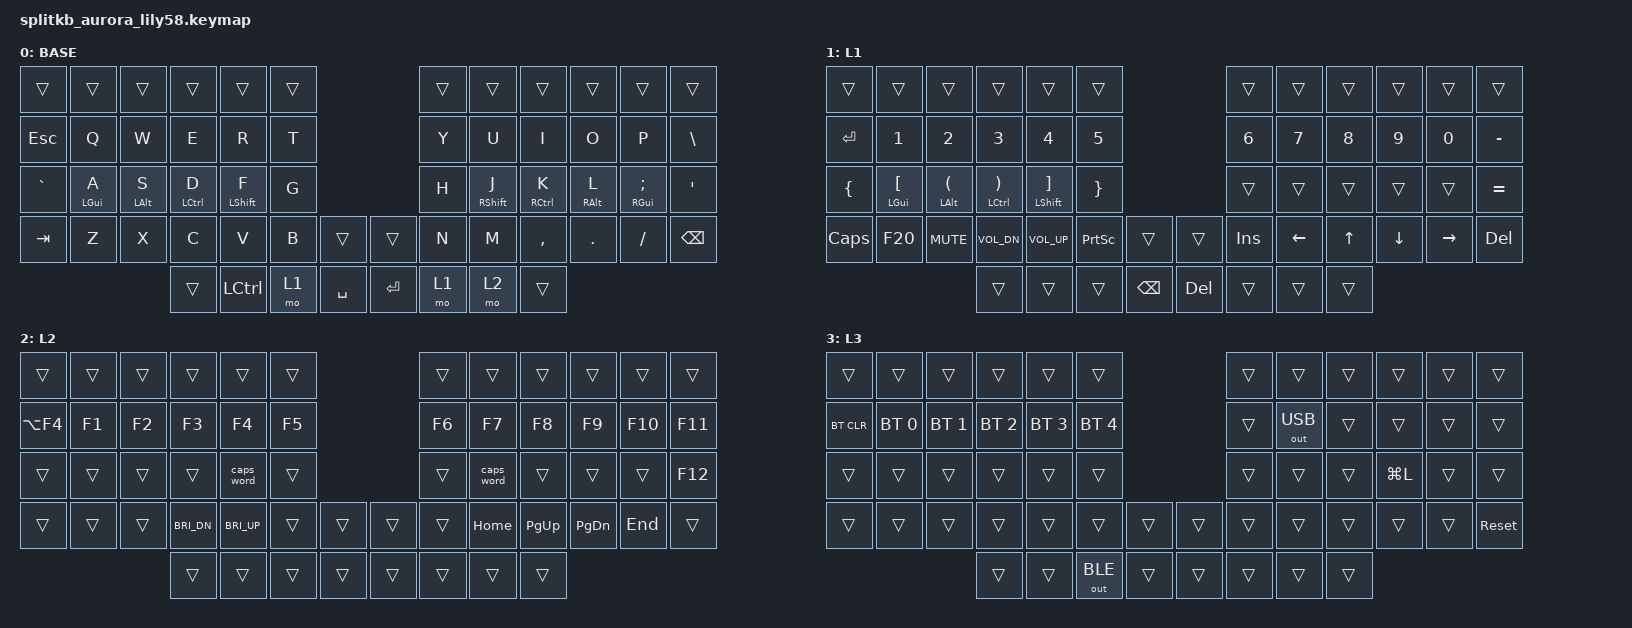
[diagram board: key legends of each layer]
/*
 * Copyright (c) 2022 The ZMK Contributors
 *
 * SPDX-License-Identifier: MIT
 */

#include <behaviors.dtsi>
#include <dt-bindings/zmk/keys.h>
#include <dt-bindings/zmk/bt.h>
#include <dt-bindings/zmk/ext_power.h>
#include <dt-bindings/zmk/outputs.h>

// &trans passa al layer sotto
// &canc disabilita il tasto

/ {
    behaviors {
        hml: home_row_mod_left {
            compatible = "zmk,behavior-hold-tap";
            #binding-cells = <2>;
            flavor = "balanced";
            require-prior-idle-ms = <150>;
            tapping-term-ms = <280>;
            quick-tap-ms = <175>;
            bindings = <&kp>, <&kp>;
            //hold-trigger-key-positions = < ... >; // List of keys on the right side of the keyboard
            hold-trigger-on-release;
        };
        hmr: home_row_mod_right {
            compatible = "zmk,behavior-hold-tap";
            #binding-cells = <2>;
            flavor = "balanced";
            require-prior-idle-ms = <150>;
            tapping-term-ms = <280>;
            quick-tap-ms = <175>;
            bindings = <&kp>, <&kp>;
            //hold-trigger-key-positions = < ... >; // List of keys on the left side of the keyboard
            hold-trigger-on-release;
        };
    };
    
    macros {
         alt_f4_m: alt_f4 {  // use it with &alt_f4_m
            compatible = "zmk,behavior-macro";
            label = "Alt F4 Macro";
            #binding-cells = <0>;
            bindings = <&macro_press &kp LALT>,
                       <&macro_tap &kp F4>,
                       <&macro_release &kp LALT>;
        };
        alt_tab_m: alt_tab {  // use it with &alt_tab_m
            compatible = "zmk,behavior-macro";
            label = "Alt TAB Macro";
            #binding-cells = <0>;
            bindings = <&macro_press &kp LALT>,
                       <&macro_tap &kp TAB>,
                       <&macro_release &kp LALT>;
        };
    };

    conditional_layers {
        compatible = "zmk,conditional-layers";
        tri_layer {
            if-layers = <1 2>;
            then-layer = <3>;
        };
    };
    
    keymap {
        compatible = "zmk,keymap";

        l0_layer {
            display-name = "BASE";
// ------------------------------------------------------------------------------------------------------------
// |       |     |     |      |      |      |                   |      |       |       |      |       |       |
// |  ESC  |  Q  |  W  |  E   |  R   |  T   |                   |  Y   |  U    |  I    |  O   |   P   |   \   |
// |   `   |  A  |  S  |  D   |  F   |  G   |                   |  H   |  J    |  K    |  L   |   ;   |   '   |
// |  TAB  |  Z  |  X  |  C   |  V   |  B   |        |  |       |  N   |  M    |  ,    |  .   |   /   |  BSPC |
//                     |      | LCTRL|  M1  |  SPACE |  | ENTER |  M1  |  M2   |       |
            bindings = <
&trans      &trans      &trans        &trans        &trans         &trans                                &trans      &trans        &trans       &trans        &trans         &trans
&kp ESC     &kp Q       &kp W         &kp E         &kp R          &kp T                                 &kp Y       &kp U         &kp I        &kp O         &kp P          &kp BSLH
&kp GRAVE   &hml LGUI A &hml LALT S   &hml LCTRL D  &hml LSHIFT F  &kp G                                 &kp H       &hmr RSHIFT J &hmr RCTRL K &hmr RALT L   &hmr RGUI SEMI &kp SQT
&kp TAB     &kp Z       &kp X         &kp C         &kp V          &kp B       &trans        &trans      &kp N       &kp M         &kp COMMA    &kp DOT       &kp FSLH       &kp BSPC
                                      &trans        &kp LCTRL      &mo 1       &kp SPACE     &kp RET     &mo 1       &mo 2         &trans
            >;
        };

        l1_layer {
            display-name = "L1";
// ------------------------------------------------------------------------------------------------------------
// |       |          |      |        |        |      |                   |        |       |       |       |       |       |
// |  RET  |   1      |   2  |   3    |   4    |   5  |                   |   6    |   7   |   8   |  9    |   0   |   -   |
// |   "{" |  "["     |   (  |   )    |  "]"   |  "}" |                   |        |       |       |       |       |   =   |
// |  CAPS | F20 (MIC)|C_MUTE|C_VOL_DN|C_VOL_UP|PSCRN |        |  |       |  INS   |  LEFT |  UP   | DOWN  | RIGHT |  DEL  |
//                    |      |        |        |      | BSPC   |  |  DEL  |        |       |       |
            bindings = <
&trans     &trans         &trans           &trans            &trans           &trans                       &trans     &trans      &trans     &trans    &trans      &trans
&kp RET    &kp N1         &kp N2           &kp N3            &kp N4           &kp N5                       &kp N6     &kp N7      &kp N8     &kp N9    &kp N0      &kp MINUS
&kp LBRC   &hml LGUI LBKT &hml LALT LPAR   &hml LCTRL RPAR   &hml LSHIFT RBKT &kp RBRC                     &trans     &trans      &trans     &trans    &trans      &kp EQUAL
&kp CAPS   &kp F20        &kp C_MUTE       &kp C_VOL_DN      &kp C_VOL_UP     &kp PSCRN  &trans   &trans   &kp INS    &kp LEFT    &kp UP     &kp DOWN  &kp RIGHT   &kp DEL
                                           &trans            &trans           &trans     &kp BSPC &kp DEL  &trans     &trans      &trans
            >;
        };

        l2_layer {
            display-name = "L2";
// ------------------------------------------------------------------------------------------------------------
// |       |      |      |       |        |      |                   |      |       |       |       |       |       |
// |ALT F4 |  F1  |  F2  |  F3   |  F4    |  F5  |                   |  F6  |   F7  |   F8  |  F9   |  F10  |  F11  |
// |       |      |      |       |        |      |                   |      |CAPS WR|       |       |       |  F12  |
// |       |      |      |C_BRI_DN|C_BRI_UP|      |        |  |       |      | HOME  | PG_UP | PG_DN | END   |       |
//                       |       |        |      |        |  |       |      |       |       |
            bindings = <
&trans     &trans     &trans       &trans            &trans           &trans                       &trans    &trans      &trans     &trans     &trans         &trans
&kp LA(F4) &kp F1     &kp F2       &kp F3            &kp F4           &kp F5                       &kp F6    &kp F7      &kp F8     &kp F9     &kp F10        &kp F11
&trans     &trans     &trans       &trans            &caps_word       &trans                       &trans    &caps_word  &trans     &trans     &trans         &kp F12
&trans     &trans     &trans       &kp C_BRI_DN      &kp C_BRI_UP     &trans     &trans   &trans   &trans    &kp HOME    &kp PG_UP  &kp PG_DN  &kp END        &trans
                                   &trans            &trans           &trans     &trans   &trans   &trans    &trans      &trans
            >;
        };



        l3_layer {
            display-name = "L3";
// -----------------------------------------------------------------------------------------------------------
// |       |         |        |        |        |      |                   |      |       |        |         |       |       |
// | BTCLR | BT1     | BT2    |  BT3   |  BT4   |  BT5 |                   |      |OUT USB|        |         |       |       |
// |       |         |        |        |        |      |                   |      |       |        |  LG(L)  |       |       |
// |       |         |        |        |        |      |        |  |       |      |       |        |         |       | RESET |
//                   |        |        |        |OUT BL|        |  |       |      |       |        |
            bindings = <
&trans        &trans          &trans          &trans          &trans          &trans                             &trans    &trans       &trans     &trans     &trans     &trans
&bt BT_CLR    &bt BT_SEL 0    &bt BT_SEL 1    &bt BT_SEL 2    &bt BT_SEL 3    &bt BT_SEL 4                       &trans    &out OUT_USB &trans     &trans     &trans     &trans
&trans        &trans          &trans          &trans          &trans          &trans                             &trans    &trans       &trans     &kp LG(L)  &trans     &trans
&trans        &trans          &trans          &trans          &trans          &trans        &trans   &trans      &trans    &trans       &trans     &trans     &trans     &sys_reset
                                              &trans          &trans          &out OUT_BLE  &trans   &trans      &trans    &trans       &trans
            >;
        };
    };
};
